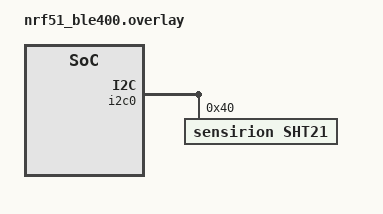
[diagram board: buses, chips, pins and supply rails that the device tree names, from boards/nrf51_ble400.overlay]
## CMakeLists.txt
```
#
# Copyright (c) 2018 Peter Bigot Consulting, LLC
#
# SPDX-License-Identifier: Apache-2.0
#

cmake_minimum_required(VERSION 3.8.2)
find_package(Zephyr HINTS $ENV{ZEPHYR_BASE})
project(sht21)

FILE(GLOB app_sources src/*.c)
target_sources(app PRIVATE ${app_sources})
```

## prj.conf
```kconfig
#
# Copyright (c) 2018 Peter Bigot Consulting, LLC
#
# SPDX-License-Identifier: Apache-2.0
#

CONFIG_STDOUT_CONSOLE=y
CONFIG_POLL=y
CONFIG_I2C=y
CONFIG_SENSPLE=y
CONFIG_SENSPLE_SHT21=y
CONFIG_LOG=y
#CONFIG_SENSPLE_LOG_LEVEL_DBG=y
```

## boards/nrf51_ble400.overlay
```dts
/*
 * Copyright (c) 2018 Peter Bigot Consulting, LLC
 *
 * SPDX-License-Identifier: Apache-2.0
 */

/ {
	aliases {
		sht21-0 = &sht21;
	};
};

&i2c0 {
	sht21: sht21@40 {
		compatible = "sensirion,sht21";
		reg = <0x40>;
		label = "SHT21";
	};
};
```

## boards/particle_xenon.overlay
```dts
/*
 * Copyright (c) 2018 Peter Bigot Consulting, LLC
 *
 * SPDX-License-Identifier: Apache-2.0
 */

&i2c0 {
	sht21: sht21@40 {
		compatible = "sensirion,sht21";
		reg = <0x40>;
		label = "SHT21";
	};
};
```

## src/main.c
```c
/*
 * Copyright (c) 2018 Peter Bigot Consulting, LLC
 *
 * SPDX-License-Identifier: Apache-2.0
 */

#include <stdio.h>
#include <zephyr.h>
#include <drivers/sensple/sht21.h>

void main(void)
{
	static const char *binding_name = DT_LABEL(DT_NODELABEL(sht21));
	int rc = 0;

	struct device *dev = device_get_binding(binding_name);
	if (!dev) {
		printf("Could not get %s device\n", binding_name);
		return;
	}
	struct k_poll_signal *sht21_sig = sensple_access(dev);
	if (!sht21_sig) {
		printf("SHT21 not available\n");
		return;
	}

	while (true) {
		struct k_poll_event evt =
			K_POLL_EVENT_INITIALIZER(K_POLL_TYPE_SIGNAL,
						 K_POLL_MODE_NOTIFY_ONLY,
						 sht21_sig);
		rc = k_poll(&evt, 1, K_MSEC(1000));
		if (K_POLL_STATE_SIGNALED == evt.state) {
			k_poll_signal_reset(sht21_sig);
			rc = sensple_work(dev);
			if ((0 < rc)
			    && (SENSPLE_STATE_OBSERVATION_READY & rc)) {
				struct sht21_observation obs;
				rc = sht21_fetch(dev, &obs);
				if (0 <= rc) {
					printf("%d cCel ; %u pptt\n",
					       obs.temperature_cCel,
					       obs.humidity_pptt);
				} else {
					printf("OBS failed: %d\n", rc);
				}
			}
		} else {
			rc = sht21_sample(dev);
			if (0 != rc) {
				printf("SAMPLE failed: %d\n", rc);
			}
		}
	}

	printf("exit %d\n", rc);
}
```
